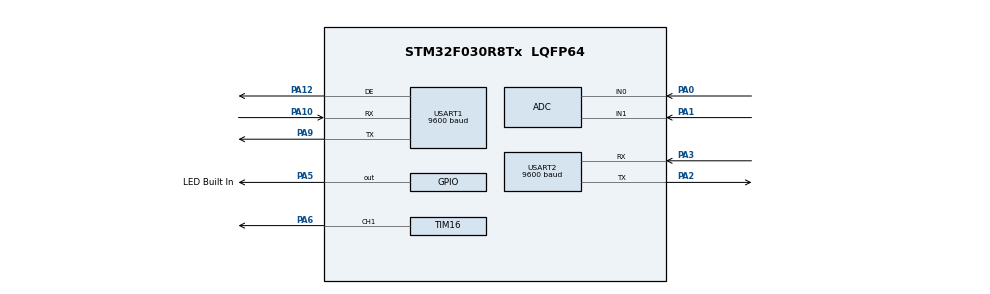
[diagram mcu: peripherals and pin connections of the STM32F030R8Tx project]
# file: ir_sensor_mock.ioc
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ADC.ClockPrescaler=ADC_CLOCK_SYNC_PCLK_DIV2
ADC.ContinuousConvMode=DISABLE
ADC.DMAContinuousRequests=ENABLE
ADC.EOCSelection=ADC_EOC_SEQ_CONV
ADC.ExternalTrigConv=ADC_EXTERNALTRIGCONV_T1_TRGO
ADC.SamplingTime=ADC_SAMPLETIME_239CYCLES_5
Dma.ADC.0.Direction=DMA_PERIPH_TO_MEMORY
Dma.ADC.0.Instance=DMA1_Channel1
Dma.ADC.0.MemDataAlignment=DMA_MDATAALIGN_WORD
Dma.ADC.0.MemInc=DMA_MINC_ENABLE
Dma.ADC.0.Mode=DMA_CIRCULAR
Dma.ADC.0.PeriphDataAlignment=DMA_PDATAALIGN_WORD
Dma.ADC.0.PeriphInc=DMA_PINC_DISABLE
Dma.ADC.0.Priority=DMA_PRIORITY_LOW
Dma.Request0=ADC
Dma.Request1=USART1_RX
Dma.Request2=USART2_TX
Dma.USART1_RX.1.Direction=DMA_PERIPH_TO_MEMORY
Dma.USART1_RX.1.Instance=DMA1_Channel3
Dma.USART1_RX.1.MemDataAlignment=DMA_MDATAALIGN_BYTE
Dma.USART1_RX.1.MemInc=DMA_MINC_ENABLE
Dma.USART1_RX.1.Mode=DMA_CIRCULAR
Dma.USART1_RX.1.PeriphDataAlignment=DMA_PDATAALIGN_BYTE
Dma.USART1_RX.1.PeriphInc=DMA_PINC_DISABLE
Dma.USART1_RX.1.Priority=DMA_PRIORITY_HIGH
Dma.USART2_TX.2.Direction=DMA_MEMORY_TO_PERIPH
Dma.USART2_TX.2.Instance=DMA1_Channel4
Dma.USART2_TX.2.MemDataAlignment=DMA_MDATAALIGN_BYTE
Dma.USART2_TX.2.MemInc=DMA_MINC_ENABLE
Dma.USART2_TX.2.Mode=DMA_NORMAL
Dma.USART2_TX.2.PeriphDataAlignment=DMA_PDATAALIGN_BYTE
Dma.USART2_TX.2.PeriphInc=DMA_PINC_DISABLE
Dma.USART2_TX.2.Priority=DMA_PRIORITY_MEDIUM
Mcu.Family=STM32F0
Mcu.Name=STM32F030R8Tx
Mcu.Package=LQFP64
NVIC.DMA1_Channel1_IRQn=true\:3\:0\:true\:false\:true\:false\:true\:true
NVIC.DMA1_Channel2_3_IRQn=true\:0\:0\:false\:false\:true\:false\:true\:true
NVIC.DMA1_Channel4_5_IRQn=true\:0\:0\:false\:false\:true\:false\:true\:true
NVIC.TIM14_IRQn=true\:0\:0\:false\:false\:true\:true\:true\:true
NVIC.TIM15_IRQn=true\:0\:0\:false\:false\:true\:true\:true\:true
NVIC.TIM3_IRQn=true\:1\:0\:true\:false\:true\:true\:true\:true
NVIC.USART2_IRQn=true\:0\:0\:false\:false\:true\:true\:true\:true
PA0.Mode=IN0
PA0.Signal=ADC_IN0
PA1.Mode=IN1
PA1.Signal=ADC_IN1
PA10.Mode=Asynchronous
PA10.Signal=USART1_RX
PA12.Mode=Hardware Flow Control (RS485)
PA12.Signal=USART1_DE
PA2.Mode=Asynchronous
PA2.Signal=USART2_TX
PA3.Mode=Asynchronous
PA3.Signal=USART2_RX
PA5.GPIO_Label=LED Built In
PA5.Signal=GPIO_Output
PA6.Signal=S_TIM16_CH1
PA9.Mode=Asynchronous
PA9.Signal=USART1_TX
ProjectManager.HeapSize=0x200
ProjectManager.StackSize=0x400
ProjectManager.TargetToolchain=CMake
SH.S_TIM16_CH1.0=TIM16_CH1,PWM Generation1 CH1
TIM1.Channel-Output\ Compare4\ No\ Output=TIM_CHANNEL_4
TIM1.OCPolarity_4=TIM_OCPOLARITY_LOW
TIM1.Period=10000
TIM1.Prescaler=15
TIM1.Pulse-Output\ Compare4\ No\ Output=100
TIM1.TIM_MasterOutputTrigger=TIM_TRGO_UPDATE
TIM14.Channel=TIM_CHANNEL_1
TIM14.OCPolarity_1=TIM_OCPOLARITY_LOW
TIM14.Period=62499
TIM14.Prescaler=63
TIM14.Pulse=60
TIM15.Channel-Output\ Compare1\ No\ Output=TIM_CHANNEL_1
TIM15.OCPolarity_1=TIM_OCPOLARITY_LOW
TIM15.Period=60000
TIM15.Prescaler=127
TIM15.Pulse-Output\ Compare1\ No\ Output=60
TIM16.Channel=TIM_CHANNEL_1
TIM16.Period=7999
TIM16.Pulse=4000
TIM3.AutoReloadPreload=TIM_AUTORELOAD_PRELOAD_ENABLE
TIM3.Channel-Output\ Compare1\ No\ Output=TIM_CHANNEL_1
TIM3.OC1Preload=DISABLE
TIM3.OCMode_1=TIM_OCMODE_TIMING
TIM3.OCPolarity_1=TIM_OCPOLARITY_LOW
TIM3.Period=49999
TIM3.Prescaler=15
TIM3.Pulse-Output\ Compare1\ No\ Output=60
USART1.BaudRate=9600
USART1.UART_DEAssertionTime=10
USART1.UART_DEDeassertionTime=10
USART1.VirtualMode-Asynchronous=VM_ASYNC
USART1.VirtualMode-Hardware\ Flow\ Control\ (RS485)=VM_ASYNC
USART2.BaudRate=9600
USART2.VirtualMode-Asynchronous=VM_ASYNC
VP_RTC_VS_RTC_Activate.Mode=RTC_Enabled
VP_TIM14_VS_ClockSourceINT.Mode=Enable_Timer
VP_TIM14_VS_no_output1.Mode=Output Compare1 No Output
VP_TIM15_VS_no_output1.Mode=Output Compare1 No Output
VP_TIM16_VS_ClockSourceINT.Mode=Enable_Timer
VP_TIM1_VS_ClockSourceINT.Mode=Internal
VP_TIM1_VS_no_output4.Mode=Output Compare4 No Output
VP_TIM3_VS_ClockSourceINT.Mode=Internal
VP_TIM3_VS_no_output1.Mode=Output Compare1 No Output
board=custom

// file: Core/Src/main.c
/* USER CODE BEGIN Header */
/**
  ******************************************************************************
  * @file           : main.c
  * @brief          : Main program body
  ******************************************************************************
  * @attention
  *
  * Copyright (c) 2026 STMicroelectronics.
  * All rights reserved.
  *
  * This software is licensed under terms that can be found in the LICENSE file
  * in the root directory of this software component.
  * If no LICENSE file comes with this software, it is provided AS-IS.
  *
  ******************************************************************************
  */
/* USER CODE END Header */
#include "main.h"

/* USER CODE BEGIN Includes */
#include "fifo.h"
#include "ir_adc.h"
#include "ir_processing.h"
#include "fsm.h"
#include "logger.h"
#include "message_types.h"
#include "rs485.h"
#include <stdlib.h>
/* USER CODE END Includes */

/* USER CODE BEGIN PD */
#define CPU_CLK 8000000UL
/* USER CODE END PD */

ADC_HandleTypeDef hadc;
DMA_HandleTypeDef hdma_adc;

RTC_HandleTypeDef hrtc;

TIM_HandleTypeDef htim1;
TIM_HandleTypeDef htim3;
TIM_HandleTypeDef htim14;
TIM_HandleTypeDef htim15;
TIM_HandleTypeDef htim16;

UART_HandleTypeDef huart1;
UART_HandleTypeDef huart2;
DMA_HandleTypeDef hdma_usart1_rx;
DMA_HandleTypeDef hdma_usart2_tx;

/* USER CODE BEGIN PV */

// initialization of necessary peripheral data structures
IrAdcConfig_t ir_adc_config = {&hadc, &hdma_adc, &hrtc};
IrAdcContext_t ir_adc_context;
uint32_t adc_buffer_consume[NUM_PHOTODIODES];
uint32_t adc_buffer_dma[NUM_PHOTODIODES];

fifo_t fifo_pd1;
fifo_t fifo_pd2;

volatile uint8_t fsm_tick = 0;
volatile uint8_t adc_tick = 0;
volatile uint8_t logger_tick = 0;
volatile uint8_t rs485_tick = 0;

// used for DMA based logger transfer. To Do: Properly implement a DMA based logger.
//volatile uint8_t log_tx_cplt = 1;

// allocated memory for buffer message operations
char msg_buf_a[LOG_BUFFER_SIZE];
uint16_t msg_buf_a_len = 0;

// comms message input to the fsm
comms_msg_t comms = {
            0, 0,
            .rs485_msg = {
              .fsm_action = SYNC_BYTE_NOT_RECEIVED,
              .data = 0
            }
};

uint8_t rs485_buffer[PACKET_LEN];

/* USER CODE END PV */

void SystemClock_Config(void);
static void MX_GPIO_Init(void);
static void MX_DMA_Init(void);
static void MX_ADC_Init(void);
static void MX_RTC_Init(void);
static void MX_TIM1_Init(void);
static void MX_USART1_UART_Init(void);
static void MX_USART2_UART_Init(void);
static void MX_TIM3_Init(void);
static void MX_TIM14_Init(void);
static void MX_TIM15_Init(void);
static void MX_TIM16_Init(void);
/* USER CODE BEGIN PFP */
static void pwm_io_control(uint32_t duty);
/* USER CODE END PFP */

int main(void)
{

  /* USER CODE BEGIN 1 */
  fifo_init(&fifo_pd1);
  fifo_init(&fifo_pd2);
  ir_adc_init(&ir_adc_config, &ir_adc_context);
  init_log_buffer();
  init_rs485(&huart1);
  /* USER CODE END 1 */

  /* MCU Configuration--------------------------------------------------------*/

  /* Reset of all peripherals, Initializes the Flash interface and the Systick. */
  HAL_Init();

  /* Configure the system clock */
  SystemClock_Config();

  /* Initialize all configured peripherals */
  MX_GPIO_Init();
  MX_DMA_Init();
  MX_ADC_Init();
  MX_RTC_Init();
  MX_TIM1_Init();
  MX_USART1_UART_Init();
  MX_USART2_UART_Init();
  MX_TIM3_Init();
  MX_TIM14_Init();
  MX_TIM15_Init();
  MX_TIM16_Init();
  /* USER CODE BEGIN 2 */
  HAL_ADC_Start_DMA(&hadc, adc_buffer_dma, NUM_PHOTODIODES);
  HAL_UART_Receive_DMA(&huart1, rs485_buffer, PACKET_LEN);

  HAL_TIM_Base_Start(&htim1);
  HAL_TIM_OC_Start_IT(&htim3, TIM_CHANNEL_1);
  HAL_TIM_OC_Start_IT(&htim15, TIM_CHANNEL_1);
  HAL_TIM_OC_Start_IT(&htim14, TIM_CHANNEL_1);

  HAL_TIM_PWM_Init(&htim16);
  HAL_TIM_PWM_Start(&htim16, TIM_CHANNEL_1);

  register_fsm_callbacks(&push_log, &pwm_io_control);
  /* USER CODE END 2 */

  /* Infinite loop */
  while (1)
  {

    /* USER CODE BEGIN 3 */

    // FSM update task run at 100Hz
    if(fsm_tick) {

      // interrupt sets the rs485 receive flag and this is checked in the super loop.
      if(comms.rs485_flag) {

        // reads the raw bytes and turns that into an actionable message for the FSM.
        read_packet(rs485_buffer, &(comms.rs485_msg));
        comms.rs485_flag = 0;
      }

      update_fsm(&fifo_pd1, &fifo_pd2, &comms);

      if(handle_async_request()) {
        pop_log(&huart2);
      }

      fsm_tick = 0;
    }

    // ADC is triggered by timer 1
    if(adc_tick) {
      adc_conversion_complete_callback(&ir_adc_context, &fifo_pd1, &fifo_pd2, adc_buffer_consume);

      adc_tick = 0;
    }

    // RS485 TX runs at 2 Hz
    if(rs485_tick) {

      // disabled heart beat for RS485 for now.
      // if(!send_packet(ACK_HEARTBEAT, 0x00)) {
      //     comms.rs485_msg.fsm_action = RS485_ERROR;
      // }

      rs485_tick = 0;
    }

    // UART logger runs at 1Hz
    if(logger_tick) {
      output_from_fsm(UART_TX, msg_buf_a, &msg_buf_a_len, LOG_BUFFER_SIZE);
      push_log(msg_buf_a, msg_buf_a_len);
      logger_tick = 0;
    }

    // Drains the data into serial in the background.
    pop_log(&huart2);

  }
  /* USER CODE END 3 */
}

void SystemClock_Config(void)
{
  RCC_OscInitTypeDef RCC_OscInitStruct = {0};
  RCC_ClkInitTypeDef RCC_ClkInitStruct = {0};
  RCC_PeriphCLKInitTypeDef PeriphClkInit = {0};

  /** Initializes the RCC Oscillators according to the specified parameters
  * in the RCC_OscInitTypeDef structure.
  */
  RCC_OscInitStruct.OscillatorType = RCC_OSCILLATORTYPE_HSI|RCC_OSCILLATORTYPE_LSI;
  RCC_OscInitStruct.HSIState = RCC_HSI_ON;
  RCC_OscInitStruct.HSICalibrationValue = RCC_HSICALIBRATION_DEFAULT;
  RCC_OscInitStruct.LSIState = RCC_LSI_ON;
  RCC_OscInitStruct.PLL.PLLState = RCC_PLL_NONE;
  if (HAL_RCC_OscConfig(&RCC_OscInitStruct) != HAL_OK)
  {
    Error_Handler();
  }

  /** Initializes the CPU, AHB and APB buses clocks
  */
  RCC_ClkInitStruct.ClockType = RCC_CLOCKTYPE_HCLK|RCC_CLOCKTYPE_SYSCLK
                              |RCC_CLOCKTYPE_PCLK1;
  RCC_ClkInitStruct.SYSCLKSource = RCC_SYSCLKSOURCE_HSI;
  RCC_ClkInitStruct.AHBCLKDivider = RCC_SYSCLK_DIV1;
  RCC_ClkInitStruct.APB1CLKDivider = RCC_HCLK_DIV1;

  if (HAL_RCC_ClockConfig(&RCC_ClkInitStruct, FLASH_LATENCY_0) != HAL_OK)
  {
    Error_Handler();
  }
  PeriphClkInit.PeriphClockSelection = RCC_PERIPHCLK_USART1|RCC_PERIPHCLK_RTC;
  PeriphClkInit.Usart1ClockSelection = RCC_USART1CLKSOURCE_PCLK1;
  PeriphClkInit.RTCClockSelection = RCC_RTCCLKSOURCE_LSI;
  if (HAL_RCCEx_PeriphCLKConfig(&PeriphClkInit) != HAL_OK)
  {
    Error_Handler();
  }
}

static void MX_ADC_Init(void)
{

  ADC_ChannelConfTypeDef sConfig = {0};

  /** Configure the global features of the ADC (Clock, Resolution, Data Alignment and number of conversion)
  */
  hadc.Instance = ADC1;
  hadc.Init.ClockPrescaler = ADC_CLOCK_SYNC_PCLK_DIV2;
  hadc.Init.Resolution = ADC_RESOLUTION_12B;
  hadc.Init.DataAlign = ADC_DATAALIGN_RIGHT;
  hadc.Init.ScanConvMode = ADC_SCAN_DIRECTION_FORWARD;
  hadc.Init.EOCSelection = ADC_EOC_SEQ_CONV;
  hadc.Init.LowPowerAutoWait = DISABLE;
  hadc.Init.LowPowerAutoPowerOff = DISABLE;
  hadc.Init.ContinuousConvMode = DISABLE;
  hadc.Init.DiscontinuousConvMode = DISABLE;
  hadc.Init.ExternalTrigConv = ADC_EXTERNALTRIGCONV_T1_TRGO;
  hadc.Init.ExternalTrigConvEdge = ADC_EXTERNALTRIGCONVEDGE_RISING;
  hadc.Init.DMAContinuousRequests = ENABLE;
  hadc.Init.Overrun = ADC_OVR_DATA_PRESERVED;
  if (HAL_ADC_Init(&hadc) != HAL_OK)
  {
    Error_Handler();
  }

  /** Configure for the selected ADC regular channel to be converted.
  */
  sConfig.Channel = ADC_CHANNEL_0;
  sConfig.Rank = ADC_RANK_CHANNEL_NUMBER;
  sConfig.SamplingTime = ADC_SAMPLETIME_239CYCLES_5;
  if (HAL_ADC_ConfigChannel(&hadc, &sConfig) != HAL_OK)
  {
    Error_Handler();
  }

  /** Configure for the selected ADC regular channel to be converted.
  */
  sConfig.Channel = ADC_CHANNEL_1;
  if (HAL_ADC_ConfigChannel(&hadc, &sConfig) != HAL_OK)
  {
    Error_Handler();
  }

}

static void MX_RTC_Init(void)
{

  /** Initialize RTC Only
  */
  hrtc.Instance = RTC;
  hrtc.Init.HourFormat = RTC_HOURFORMAT_24;
  hrtc.Init.AsynchPrediv = 127;
  hrtc.Init.SynchPrediv = 255;
  hrtc.Init.OutPut = RTC_OUTPUT_DISABLE;
  hrtc.Init.OutPutPolarity = RTC_OUTPUT_POLARITY_HIGH;
  hrtc.Init.OutPutType = RTC_OUTPUT_TYPE_OPENDRAIN;
  if (HAL_RTC_Init(&hrtc) != HAL_OK)
  {
    Error_Handler();
  }

}

static void MX_TIM1_Init(void)
{

  TIM_ClockConfigTypeDef sClockSourceConfig = {0};
  TIM_MasterConfigTypeDef sMasterConfig = {0};
  TIM_OC_InitTypeDef sConfigOC = {0};
  TIM_BreakDeadTimeConfigTypeDef sBreakDeadTimeConfig = {0};

  htim1.Instance = TIM1;
  htim1.Init.Prescaler = 15;
  htim1.Init.CounterMode = TIM_COUNTERMODE_UP;
  htim1.Init.Period = 10000;
  htim1.Init.ClockDivision = TIM_CLOCKDIVISION_DIV1;
  htim1.Init.RepetitionCounter = 0;
  htim1.Init.AutoReloadPreload = TIM_AUTORELOAD_PRELOAD_DISABLE;
  if (HAL_TIM_Base_Init(&htim1) != HAL_OK)
  {
    Error_Handler();
  }
  sClockSourceConfig.ClockSource = TIM_CLOCKSOURCE_INTERNAL;
  if (HAL_TIM_ConfigClockSource(&htim1, &sClockSourceConfig) != HAL_OK)
  {
    Error_Handler();
  }
  if (HAL_TIM_OC_Init(&htim1) != HAL_OK)
  {
    Error_Handler();
  }
  sMasterConfig.MasterOutputTrigger = TIM_TRGO_UPDATE;
  sMasterConfig.MasterSlaveMode = TIM_MASTERSLAVEMODE_DISABLE;
  if (HAL_TIMEx_MasterConfigSynchronization(&htim1, &sMasterConfig) != HAL_OK)
  {
    Error_Handler();
  }
  sConfigOC.OCMode = TIM_OCMODE_TIMING;
  sConfigOC.Pulse = 100;
  sConfigOC.OCPolarity = TIM_OCPOLARITY_LOW;
  sConfigOC.OCFastMode = TIM_OCFAST_DISABLE;
  sConfigOC.OCIdleState = TIM_OCIDLESTATE_RESET;
  sConfigOC.OCNIdleState = TIM_OCNIDLESTATE_RESET;
  if (HAL_TIM_OC_ConfigChannel(&htim1, &sConfigOC, TIM_CHANNEL_4) != HAL_OK)
  {
    Error_Handler();
  }
  sBreakDeadTimeConfig.OffStateRunMode = TIM_OSSR_DISABLE;
  sBreakDeadTimeConfig.OffStateIDLEMode = TIM_OSSI_DISABLE;
  sBreakDeadTimeConfig.LockLevel = TIM_LOCKLEVEL_OFF;
  sBreakDeadTimeConfig.DeadTime = 0;
  sBreakDeadTimeConfig.BreakState = TIM_BREAK_DISABLE;
  sBreakDeadTimeConfig.BreakPolarity = TIM_BREAKPOLARITY_HIGH;
  sBreakDeadTimeConfig.AutomaticOutput = TIM_AUTOMATICOUTPUT_DISABLE;
  if (HAL_TIMEx_ConfigBreakDeadTime(&htim1, &sBreakDeadTimeConfig) != HAL_OK)
  {
    Error_Handler();
  }

}

static void MX_TIM3_Init(void)
{

  TIM_ClockConfigTypeDef sClockSourceConfig = {0};
  TIM_MasterConfigTypeDef sMasterConfig = {0};
  TIM_OC_InitTypeDef sConfigOC = {0};

  htim3.Instance = TIM3;
  htim3.Init.Prescaler = 15;
  htim3.Init.CounterMode = TIM_COUNTERMODE_UP;
  htim3.Init.Period = 49999;
  htim3.Init.ClockDivision = TIM_CLOCKDIVISION_DIV1;
  htim3.Init.AutoReloadPreload = TIM_AUTORELOAD_PRELOAD_ENABLE;
  if (HAL_TIM_Base_Init(&htim3) != HAL_OK)
  {
    Error_Handler();
  }
  sClockSourceConfig.ClockSource = TIM_CLOCKSOURCE_INTERNAL;
  if (HAL_TIM_ConfigClockSource(&htim3, &sClockSourceConfig) != HAL_OK)
  {
    Error_Handler();
  }
  if (HAL_TIM_OC_Init(&htim3) != HAL_OK)
  {
    Error_Handler();
  }
  sMasterConfig.MasterOutputTrigger = TIM_TRGO_RESET;
  sMasterConfig.MasterSlaveMode = TIM_MASTERSLAVEMODE_DISABLE;
  if (HAL_TIMEx_MasterConfigSynchronization(&htim3, &sMasterConfig) != HAL_OK)
  {
    Error_Handler();
  }
  sConfigOC.OCMode = TIM_OCMODE_TIMING;
  sConfigOC.Pulse = 60;
  sConfigOC.OCPolarity = TIM_OCPOLARITY_LOW;
  sConfigOC.OCFastMode = TIM_OCFAST_DISABLE;
  if (HAL_TIM_OC_ConfigChannel(&htim3, &sConfigOC, TIM_CHANNEL_1) != HAL_OK)
  {
    Error_Handler();
  }

}

static void MX_TIM14_Init(void)
{

  TIM_OC_InitTypeDef sConfigOC = {0};

  htim14.Instance = TIM14;
  htim14.Init.Prescaler = 63;
  htim14.Init.CounterMode = TIM_COUNTERMODE_UP;
  htim14.Init.Period = 62499;
  htim14.Init.ClockDivision = TIM_CLOCKDIVISION_DIV1;
  htim14.Init.AutoReloadPreload = TIM_AUTORELOAD_PRELOAD_DISABLE;
  if (HAL_TIM_Base_Init(&htim14) != HAL_OK)
  {
    Error_Handler();
  }
  if (HAL_TIM_OC_Init(&htim14) != HAL_OK)
  {
    Error_Handler();
  }
  sConfigOC.OCMode = TIM_OCMODE_TIMING;
  sConfigOC.Pulse = 60;
  sConfigOC.OCPolarity = TIM_OCPOLARITY_LOW;
  sConfigOC.OCFastMode = TIM_OCFAST_DISABLE;
  if (HAL_TIM_OC_ConfigChannel(&htim14, &sConfigOC, TIM_CHANNEL_1) != HAL_OK)
  {
    Error_Handler();
  }

}

static void MX_TIM15_Init(void)
{

  TIM_MasterConfigTypeDef sMasterConfig = {0};
  TIM_OC_InitTypeDef sConfigOC = {0};
  TIM_BreakDeadTimeConfigTypeDef sBreakDeadTimeConfig = {0};

  htim15.Instance = TIM15;
  htim15.Init.Prescaler = 127;
  htim15.Init.CounterMode = TIM_COUNTERMODE_UP;
  htim15.Init.Period = 60000;
  htim15.Init.ClockDivision = TIM_CLOCKDIVISION_DIV1;
  htim15.Init.RepetitionCounter = 0;
  htim15.Init.AutoReloadPreload = TIM_AUTORELOAD_PRELOAD_DISABLE;
  if (HAL_TIM_OC_Init(&htim15) != HAL_OK)
  {
    Error_Handler();
  }
  sMasterConfig.MasterOutputTrigger = TIM_TRGO_RESET;
  sMasterConfig.MasterSlaveMode = TIM_MASTERSLAVEMODE_DISABLE;
  if (HAL_TIMEx_MasterConfigSynchronization(&htim15, &sMasterConfig) != HAL_OK)
  {
    Error_Handler();
  }
  sConfigOC.OCMode = TIM_OCMODE_TIMING;
  sConfigOC.Pulse = 60;
  sConfigOC.OCPolarity = TIM_OCPOLARITY_LOW;
  sConfigOC.OCNPolarity = TIM_OCNPOLARITY_HIGH;
  sConfigOC.OCFastMode = TIM_OCFAST_DISABLE;
  sConfigOC.OCIdleState = TIM_OCIDLESTATE_RESET;
  sConfigOC.OCNIdleState = TIM_OCNIDLESTATE_RESET;
  if (HAL_TIM_OC_ConfigChannel(&htim15, &sConfigOC, TIM_CHANNEL_1) != HAL_OK)
  {
    Error_Handler();
  }
  sBreakDeadTimeConfig.OffStateRunMode = TIM_OSSR_DISABLE;
  sBreakDeadTimeConfig.OffStateIDLEMode = TIM_OSSI_DISABLE;
  sBreakDeadTimeConfig.LockLevel = TIM_LOCKLEVEL_OFF;
  sBreakDeadTimeConfig.DeadTime = 0;
  sBreakDeadTimeConfig.BreakState = TIM_BREAK_DISABLE;
  sBreakDeadTimeConfig.BreakPolarity = TIM_BREAKPOLARITY_HIGH;
  sBreakDeadTimeConfig.AutomaticOutput = TIM_AUTOMATICOUTPUT_DISABLE;
  if (HAL_TIMEx_ConfigBreakDeadTime(&htim15, &sBreakDeadTimeConfig) != HAL_OK)
  {
    Error_Handler();
  }

}

static void MX_TIM16_Init(void)
{

  TIM_OC_InitTypeDef sConfigOC = {0};
  TIM_BreakDeadTimeConfigTypeDef sBreakDeadTimeConfig = {0};

  htim16.Instance = TIM16;
  htim16.Init.Prescaler = 0;
  htim16.Init.CounterMode = TIM_COUNTERMODE_UP;
  htim16.Init.Period = 7999;
  htim16.Init.ClockDivision = TIM_CLOCKDIVISION_DIV1;
  htim16.Init.RepetitionCounter = 0;
  htim16.Init.AutoReloadPreload = TIM_AUTORELOAD_PRELOAD_DISABLE;
  if (HAL_TIM_Base_Init(&htim16) != HAL_OK)
  {
    Error_Handler();
  }
  if (HAL_TIM_PWM_Init(&htim16) != HAL_OK)
  {
    Error_Handler();
  }
  sConfigOC.OCMode = TIM_OCMODE_PWM1;
  sConfigOC.Pulse = 4000;
  sConfigOC.OCPolarity = TIM_OCPOLARITY_HIGH;
  sConfigOC.OCNPolarity = TIM_OCNPOLARITY_HIGH;
  sConfigOC.OCFastMode = TIM_OCFAST_DISABLE;
  sConfigOC.OCIdleState = TIM_OCIDLESTATE_RESET;
  sConfigOC.OCNIdleState = TIM_OCNIDLESTATE_RESET;
  if (HAL_TIM_PWM_ConfigChannel(&htim16, &sConfigOC, TIM_CHANNEL_1) != HAL_OK)
  {
    Error_Handler();
  }
  sBreakDeadTimeConfig.OffStateRunMode = TIM_OSSR_DISABLE;
  sBreakDeadTimeConfig.OffStateIDLEMode = TIM_OSSI_DISABLE;
  sBreakDeadTimeConfig.LockLevel = TIM_LOCKLEVEL_OFF;
  sBreakDeadTimeConfig.DeadTime = 0;
  sBreakDeadTimeConfig.BreakState = TIM_BREAK_DISABLE;
  sBreakDeadTimeConfig.BreakPolarity = TIM_BREAKPOLARITY_HIGH;
  sBreakDeadTimeConfig.AutomaticOutput = TIM_AUTOMATICOUTPUT_DISABLE;
  if (HAL_TIMEx_ConfigBreakDeadTime(&htim16, &sBreakDeadTimeConfig) != HAL_OK)
  {
    Error_Handler();
  }
  HAL_TIM_MspPostInit(&htim16);

}

static void MX_USART1_UART_Init(void)
{

  huart1.Instance = USART1;
  huart1.Init.BaudRate = 9600;
  huart1.Init.WordLength = UART_WORDLENGTH_8B;
  huart1.Init.StopBits = UART_STOPBITS_1;
  huart1.Init.Parity = UART_PARITY_NONE;
  huart1.Init.Mode = UART_MODE_TX_RX;
  huart1.Init.HwFlowCtl = UART_HWCONTROL_NONE;
  huart1.Init.OverSampling = UART_OVERSAMPLING_16;
  huart1.Init.OneBitSampling = UART_ONE_BIT_SAMPLE_DISABLE;
  huart1.AdvancedInit.AdvFeatureInit = UART_ADVFEATURE_NO_INIT;
  if (HAL_RS485Ex_Init(&huart1, UART_DE_POLARITY_HIGH, 10, 10) != HAL_OK)
  {
    Error_Handler();
  }

}

static void MX_USART2_UART_Init(void)
{

  huart2.Instance = USART2;
  huart2.Init.BaudRate = 9600;
  huart2.Init.WordLength = UART_WORDLENGTH_8B;
  huart2.Init.StopBits = UART_STOPBITS_1;
  huart2.Init.Parity = UART_PARITY_NONE;
  huart2.Init.Mode = UART_MODE_TX_RX;
  huart2.Init.HwFlowCtl = UART_HWCONTROL_NONE;
  huart2.Init.OverSampling = UART_OVERSAMPLING_16;
  huart2.Init.OneBitSampling = UART_ONE_BIT_SAMPLE_DISABLE;
  huart2.AdvancedInit.AdvFeatureInit = UART_ADVFEATURE_NO_INIT;
  if (HAL_UART_Init(&huart2) != HAL_OK)
  {
    Error_Handler();
  }

}

static void MX_DMA_Init(void)
{

  /* DMA controller clock enable */
  __HAL_RCC_DMA1_CLK_ENABLE();

  /* DMA interrupt init */
  /* DMA1_Channel1_IRQn interrupt configuration */
  HAL_NVIC_SetPriority(DMA1_Channel1_IRQn, 3, 0);
  HAL_NVIC_EnableIRQ(DMA1_Channel1_IRQn);
  /* DMA1_Channel2_3_IRQn interrupt configuration */
  HAL_NVIC_SetPriority(DMA1_Channel2_3_IRQn, 0, 0);
  HAL_NVIC_EnableIRQ(DMA1_Channel2_3_IRQn);
  /* DMA1_Channel4_5_IRQn interrupt configuration */
  HAL_NVIC_SetPriority(DMA1_Channel4_5_IRQn, 0, 0);
  HAL_NVIC_EnableIRQ(DMA1_Channel4_5_IRQn);

}

static void MX_GPIO_Init(void)
{
  GPIO_InitTypeDef GPIO_InitStruct = {0};

  /* GPIO Ports Clock Enable */
  __HAL_RCC_GPIOA_CLK_ENABLE();

  /*Configure GPIO pin Output Level */
  HAL_GPIO_WritePin(LED_Built_In_GPIO_Port, LED_Built_In_Pin, GPIO_PIN_RESET);

  /*Configure GPIO pin : LED_Built_In_Pin */
  GPIO_InitStruct.Pin = LED_Built_In_Pin;
  GPIO_InitStruct.Mode = GPIO_MODE_OUTPUT_PP;
  GPIO_InitStruct.Pull = GPIO_NOPULL;
  GPIO_InitStruct.Speed = GPIO_SPEED_FREQ_LOW;
  HAL_GPIO_Init(LED_Built_In_GPIO_Port, &GPIO_InitStruct);

}

/* USER CODE BEGIN 4 */
void HAL_ADC_ConvCpltCallback(ADC_HandleTypeDef* hadc) {

  if(hadc->Instance != ADC1) {
    return;
  }

  if(ir_adc_config.hadc == NULL || ir_adc_context.config.hadc == NULL) {
    return;
  }

  // Enter critical section for double buffering ADC DMA buffers.

  __disable_irq();

  adc_tick = 1;
  memcpy(&adc_buffer_consume, &adc_buffer_dma, NUM_PHOTODIODES*sizeof(uint32_t));

  __enable_irq();

}

void HAL_TIM_OC_DelayElapsedCallback(TIM_HandleTypeDef *htim)
{
  if (  htim->Instance != TIM3 && htim->Instance != TIM1
        && htim->Instance != TIM15 && htim->Instance != TIM14) {
      return;
  }

  // internal logger and FSM timing

  // FSM tick updates at 100 Hz
  if (htim->Instance == TIM3) {
      fsm_tick = 1;
  }

  // logger updates at 1 Hz
  if (htim->Instance == TIM15) {
      logger_tick = 1;
  }

  // rs485 heartbeat check at 2 Hz
  if (htim->Instance == TIM14) {
    rs485_tick = 1;
  }

}

void HAL_UART_RxCpltCallback (UART_HandleTypeDef * huart) {

  if(huart->Instance == USART1) {
    comms.rs485_flag = 1;
  }

}

void HAL_UART_TxCpltCallback (UART_HandleTypeDef* huart) {

  // used for DMA based transfer
  // if(huart->Instance == USART2) {
  //   log_tx_cplt = 1;
  // }

}

void pwm_io_control(uint32_t duty) {

  if(duty >= 100) {
    return;
  }

  htim16.Instance->CCR1 = (uint32_t)( (float)htim16.Instance->ARR * ((float)duty / 100.0f) );
}
/* USER CODE END 4 */

void Error_Handler(void)
{
  /* USER CODE BEGIN Error_Handler_Debug */
  /* User can add his own implementation to report the HAL error return state */
  __disable_irq();
  HAL_GPIO_WritePin(GPIOA, LED_Built_In_Pin, 1);
  while (1)
  {
  }
  /* USER CODE END Error_Handler_Debug */
}
